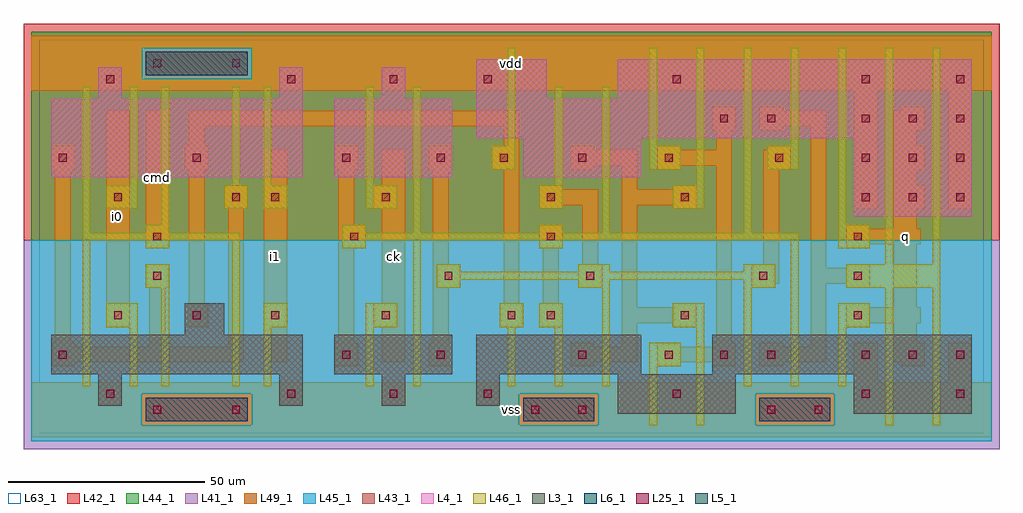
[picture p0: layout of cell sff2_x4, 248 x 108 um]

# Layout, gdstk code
import gdstk
lib = gdstk.Library(unit=1e-6, precision=1e-09)
def R(c, l, rs):  # rectangles x0, y0, x1, y1
    for r in rs: c.add(gdstk.rectangle(r[:2], r[2:], *l))
def A(c, l, x, y, w, h, nx, ny, dx, dy):  # array of equal rectangles
    R(c, l, [(x+i*dx, y+j*dy, x+i*dx+w, y+j*dy+h) for i in range(nx) for j in range(ny)])
L3_1 = (3, 1)
L4_1 = (4, 1)
L5_1 = (5, 1)
L6_1 = (6, 1)
L25_1 = (25, 1)
L41_1 = (41, 1)
L42_1 = (42, 1)
L43_1 = (43, 1)
L44_1 = (44, 1)
L45_1 = (45, 1)
L46_1 = (46, 1)
L49_1 = (49, 1)
L63_1 = (63, 1)

sff2_x4 = lib.new_cell('sff2_x4')
R(sff2_x4, L3_1, [(147,5,177,15), (207,5,237,15), (15,7,21,15), (61,7,67,15), (87,7,93,15), (111,7,117,15), (3,15,67,25), (75,15,105,25), (111,15,153,25), (171,15,237,25), (37,25,47,33)])
R(sff2_x4, L4_1, [(207,55,237,75), (3,65,67,85), (75,65,105,85), (123,65,153,75), (111,75,237,85), (15,85,21,93), (61,85,67,93), (87,85,93,93), (111,85,129,95), (147,85,237,95)])
R(sff2_x4, L5_1, [(27,91,53,97)])
R(sff2_x4, L6_1, [(27,3,53,9), (123,3,141,9), (183,3,201,9)])
A(sff2_x4, L25_1, 113, 9, 2, 2, 3, 2, 48, 80)
A(sff2_x4, L25_1, 209, 19, 2, 2, 3, 2, 12, 40)
A(sff2_x4, L25_1, 19, 29, 2, 2, 3, 1, 20, 0)
A(sff2_x4, L25_1, 207, 29, 2, 2, 1, 3, 0, 10)
A(sff2_x4, L25_1, 29, 49, 2, 2, 3, 1, 50, 0)
A(sff2_x4, L25_1, 209, 69, 2, 2, 3, 2, 12, 10)
R(sff2_x4, L25_1, [(29,5,31,7), (49,5,51,7), (125,5,127,7), (137,5,139,7), (185,5,187,7), (197,5,199,7), (17,9,19,11), (63,9,65,11), (89,9,91,11), (233,9,235,11), (5,19,7,21), (77,19,79,21), (101,19,103,21), (137,19,139,21), (159,19,161,21), (173,19,175,21), (185,19,187,21), (87,29,89,31), (119,29,121,31), (129,29,131,31), (163,29,165,31), (29,39,31,41), (103,39,105,41), (139,39,141,41), (183,39,185,41), (19,59,21,61), (49,59,51,61), (59,59,61,61), (87,59,89,61), (129,59,131,61), (163,59,165,61), (5,69,7,71), (39,69,41,71), (77,69,79,71), (101,69,103,71), (117,69,119,71), (137,69,139,71), (159,69,161,71), (187,69,189,71), (173,79,175,81), (185,79,187,81), (17,89,19,91), (63,89,65,91), (89,89,91,91), (233,89,235,91), (29,93,31,95), (49,93,51,95)])
R(sff2_x4, L41_1, [(-4,-4,244,49)])
R(sff2_x4, L42_1, [(-4,49,244,104)])
R(sff2_x4, L43_1, [(27,3,53,9), (123,3,141,9), (183,3,201,9), (147,5,177,15), (207,5,237,15), (15,7,21,15), (61,7,67,15), (87,7,93,15), (111,7,117,15), (3,15,67,25), (75,15,105,25), (111,15,153,25), (171,15,237,25), (37,25,47,33), (207,55,237,75), (3,65,67,85), (75,65,105,85), (123,65,153,75), (111,75,237,85), (15,85,21,93), (61,85,67,93), (87,85,93,93), (111,85,129,95), (147,85,237,95), (27,91,53,97)])
R(sff2_x4, L44_1, [(26,2,54,10), (122,2,142,10), (182,2,202,10), (-2,49,242,90), (-2,90,26,98), (54,90,242,98), (-2,98,242,102)])
R(sff2_x4, L45_1, [(-2,-2,242,2), (-2,2,26,10), (54,2,122,10), (142,2,182,10), (202,2,242,10), (-2,10,242,49), (26,90,54,98)])
A(sff2_x4, L46_1, 27, 47, 6, 2, 3, 2, 50, 4)
A(sff2_x4, L46_1, 119, 73, 2, 25, 3, 1, 36, 0)
R(sff2_x4, L46_1, [(155,2,157,17), (167,2,169,27), (215,2,217,37), (227,2,229,37), (11,12,13,49), (23,12,25,27), (31,12,33,37), (49,12,51,49), (57,12,59,27), (83,12,85,27), (95,12,97,49), (119,12,121,27), (131,12,133,27), (143,12,145,37), (179,12,181,37), (191,12,193,49), (203,12,205,27), (155,17,163,23), (17,27,25,33), (57,27,63,33), (83,27,91,33), (117,27,123,33), (127,27,133,33), (161,27,169,33), (203,27,211,33), (27,37,33,43), (101,37,107,39), (137,37,145,39), (179,37,187,39), (205,37,229,43), (101,39,187,41), (101,41,107,43), (137,41,145,43), (179,41,187,43), (215,43,217,98), (227,43,229,98), (203,47,211,53), (11,49,51,51), (77,49,193,51), (11,51,13,88), (95,51,97,88), (143,51,145,88), (179,51,181,98), (31,53,33,88), (203,53,205,98), (17,57,25,63), (47,57,53,63), (57,57,63,63), (83,57,91,63), (127,57,133,63), (161,57,169,63), (23,63,25,88), (49,63,51,88), (57,63,59,88), (83,63,85,88), (131,63,133,88), (167,63,169,98), (115,67,121,73), (155,67,163,73), (185,67,193,73)])
A(sff2_x4, L49_1, 205, 27, 6, 1, 1, 6, 0, 5)
R(sff2_x4, L49_1, [(-2,-1,242,13), (207,13,213,23), (231,13,237,23), (3,17,9,18), (75,17,81,23), (99,17,105,23), (135,17,141,18), (157,17,163,18), (171,17,177,18), (183,17,189,18), (219,17,225,18), (3,18,52,22), (57,18,63,72), (87,18,93,27), (135,18,152,22), (157,18,177,22), (183,18,200,22), (217,18,225,23), (3,22,9,23), (28,22,32,37), (48,22,52,57), (135,22,141,23), (148,22,152,28), (157,22,163,23), (171,22,177,23), (183,22,189,23), (196,22,200,38), (4,23,8,67), (76,23,80,47), (100,23,104,37), (172,23,176,68), (217,23,223,28), (17,27,23,82), (37,27,43,33), (85,27,93,33), (117,27,123,33), (127,27,133,33), (161,27,167,28), (148,28,167,32), (205,28,224,32), (148,32,152,58), (161,32,167,33), (217,32,223,48), (38,33,42,67), (87,33,93,57), (118,33,122,67), (128,33,132,47), (27,37,33,43), (100,37,107,43), (137,37,143,43), (181,37,187,38), (181,38,188,43), (196,38,211,42), (196,42,200,78), (100,43,104,67), (138,43,142,58), (184,43,188,67), (27,47,33,82), (76,47,83,53), (127,47,133,53), (205,48,224,52), (217,52,223,57), (76,53,80,67), (47,57,53,63), (85,57,93,63), (127,57,133,58), (161,57,167,58), (207,57,213,87), (217,57,225,63), (231,57,237,87), (127,58,142,62), (148,58,167,62), (127,62,133,63), (148,62,152,68), (161,62,167,63), (87,63,93,72), (217,63,223,67), (3,67,9,73), (37,67,43,73), (75,67,81,73), (99,67,105,73), (115,67,122,73), (135,67,141,68), (157,67,163,68), (184,67,191,72), (217,67,225,73), (135,68,152,72), (157,68,176,72), (135,72,141,73), (157,72,163,73), (172,72,176,77), (185,72,191,73), (38,73,42,78), (118,73,122,78), (217,73,223,77), (171,77,177,83), (183,77,189,78), (217,77,225,82), (38,78,122,82), (183,78,200,82), (183,82,189,83), (219,82,225,83), (-2,87,242,101)])
R(sff2_x4, L63_1, [(0,0,240,100)])
sff2_x4.add(gdstk.Label('i0', (20,55), layer=49, texttype=1))
sff2_x4.add(gdstk.Label('i0', (20,55), layer=49, texttype=1))
sff2_x4.add(gdstk.Label('cmd', (30,65), layer=49, texttype=1))
sff2_x4.add(gdstk.Label('cmd', (30,65), layer=49, texttype=1))
sff2_x4.add(gdstk.Label('ck', (90,45), layer=49, texttype=1))
sff2_x4.add(gdstk.Label('i1', (60,45), layer=49, texttype=1))
sff2_x4.add(gdstk.Label('ck', (90,45), layer=49, texttype=1))
sff2_x4.add(gdstk.Label('i1', (60,45), layer=49, texttype=1))
sff2_x4.add(gdstk.Label('vss', (120,6), layer=49, texttype=1))
sff2_x4.add(gdstk.Label('vss', (120,6), layer=49, texttype=1))
sff2_x4.add(gdstk.Label('vdd', (120,94), layer=49, texttype=1))
sff2_x4.add(gdstk.Label('vdd', (120,94), layer=49, texttype=1))
sff2_x4.add(gdstk.Label('q', (220,50), layer=49, texttype=1))
sff2_x4.add(gdstk.Label('q', (220,50), layer=49, texttype=1))

lib.write_gds('sff2_x4.gds')
